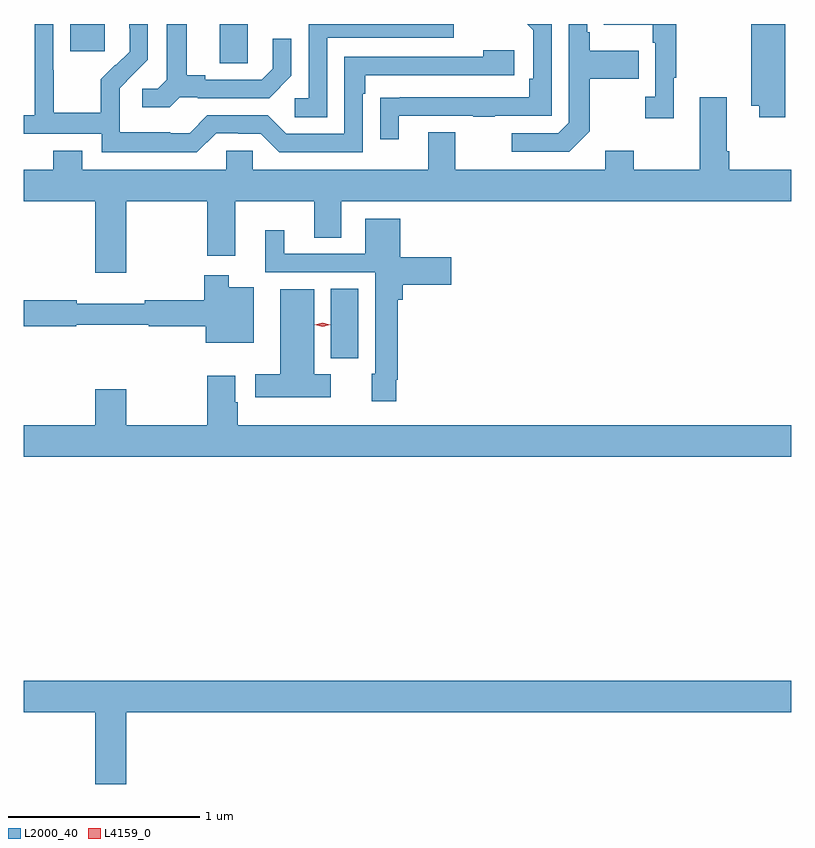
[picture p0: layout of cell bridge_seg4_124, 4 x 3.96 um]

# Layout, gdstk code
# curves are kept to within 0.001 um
import gdstk
lib = gdstk.Library(unit=1e-6, precision=1e-09)
def R(c, l, rs):  # rectangles x0, y0, x1, y1
    for r in rs: c.add(gdstk.rectangle(r[:2], r[2:], *l))
def P(c, l, *ps):  # polygons
    for p in ps: c.add(gdstk.Polygon(p, *l))
L2000_40 = (2000, 40)
L4159_0 = (4159, 0)

bridge_seg4_124 = lib.new_cell('bridge_seg4_124')
R(bridge_seg4_124, L2000_40, [(250.154,817.314,250.297,817.676), (249.575,818.851,249.72,819.056), (248.795,818.913,248.974,819.056)])
P(bridge_seg4_124, L2000_40, [(251.941,818.777),(251.953,818.777),(251.953,819.056),(251.575,819.056),(251.575,819.053),(251.832,819.053),(251.832,818.957),(251.844,818.957),(251.844,818.678),(251.793,818.678),(251.793,818.565),(251.941,818.565)],
  [(252.521,819.056),(252.346,819.056),(252.346,818.63),(252.386,818.63),(252.386,818.571),(252.521,818.571)],
  [(251.503,818.497),(251.503,818.77),(251.759,818.77),(251.759,818.917),(251.503,818.917),(251.503,819.013),(251.49,819.013),(251.49,819.056),(251.394,819.056),(251.394,818.541),(251.34,818.487),(251.097,818.487),(251.097,818.391),(251.397,818.391)],
  [(250.134,818.985),(250.793,818.985),(250.793,819.056),(250.038,819.056),(250.038,818.67),(249.966,818.67),(249.966,818.569),(250.134,818.569)],
  [(249.555,818.487),(249.671,818.487),(249.671,818.484),(249.789,818.484),(249.885,818.388),(250.32,818.388),(250.32,818.693),(250.333,818.693),(250.333,818.79),(251.11,818.79),(251.11,818.92),(250.949,818.92),(250.949,818.886),(250.224,818.886),(250.224,818.484),(249.921,818.484),(249.825,818.58),(249.51,818.58),(249.417,818.487),(249.317,818.487),(249.317,818.491),(249.054,818.491),(249.054,818.625),(249.052,818.625),(249.052,818.722),(249.198,818.87),(249.198,819.056),(249.102,819.056),(249.102,819.034),(249.104,819.034),(249.104,818.912),(249.033,818.841),(249.03,818.844),(248.953,818.767),(248.953,818.593),(248.709,818.593),(248.709,818.816),(248.706,818.816),(248.706,819.056),(248.61,819.056),(248.61,818.58),(248.553,818.58),(248.553,818.484),(248.958,818.484),(248.958,818.387),(249.455,818.387)],
  [(250.507,818.577),(250.897,818.577),(250.897,818.572),(251.009,818.572),(251.009,818.577),(251.304,818.577),(251.304,819.056),(251.176,819.056),(251.208,819.024),(251.208,818.77),(251.188,818.77),(251.188,818.673),(250.411,818.672),(250.411,818.454),(250.507,818.454)],
  [(249.366,818.673),(249.46,818.673),(249.46,818.67),(249.832,818.67),(249.948,818.786),(249.948,818.98),(249.851,818.98),(249.851,818.823),(249.794,818.766),(249.499,818.766),(249.499,818.789),(249.403,818.789),(249.403,819.056),(249.299,819.056),(249.299,818.765),(249.252,818.718),(249.171,818.718),(249.171,818.621),(249.314,818.621)],
  [(252.553,818.296),(252.23,818.296),(252.23,818.392),(252.217,818.392),(252.217,818.674),(252.077,818.674),(252.077,818.296),(251.733,818.296),(251.733,818.395),(251.585,818.395),(251.585,818.296),(250.801,818.296),(250.801,818.491),(250.661,818.491),(250.661,818.296),(249.747,818.296),(249.747,818.394),(249.609,818.394),(249.609,818.296),(248.857,818.296),(248.857,818.395),(248.705,818.395),(248.705,818.296),(248.553,818.296),(248.553,818.132),(248.924,818.132),(248.924,817.758),(249.088,817.758),(249.088,818.132),(249.508,818.132),(249.508,817.848),(249.655,817.848),(249.655,818.132),(250.067,818.132),(250.067,817.942),(250.207,817.942),(250.207,818.132),(252.553,818.132)],
  [(250.495,817.201),(250.502,817.201),(250.502,817.619),(250.529,817.619),(250.529,817.697),(250.78,817.697),(250.78,817.839),(250.516,817.839),(250.516,818.041),(250.334,818.041),(250.334,817.857),(249.91,817.857),(249.91,817.981),(249.812,817.981),(249.812,817.761),(250.386,817.761),(250.386,817.233),(250.367,817.233),(250.367,817.089),(250.495,817.089)],
  [(249.751,817.684),(249.622,817.684),(249.622,817.747),(249.493,817.747),(249.493,817.616),(249.184,817.616),(249.184,817.597),(248.828,817.597),(248.828,817.616),(248.553,817.616),(248.553,817.48),(248.826,817.48),(248.826,817.488),(249.204,817.488),(249.204,817.48),(249.5,817.48),(249.5,817.394),(249.751,817.394)],
  [(250.154,817.231),(250.066,817.231),(250.066,817.672),(249.89,817.672),(249.89,817.231),(249.759,817.231),(249.759,817.109),(250.154,817.109)],
  [(252.553,816.964),(249.668,816.964),(249.668,817.085),(249.655,817.085),(249.655,817.222),(249.508,817.222),(249.508,816.964),(249.088,816.964),(249.088,817.153),(248.924,817.153),(248.924,816.964),(248.553,816.964),(248.553,816.8),(252.553,816.8)],
  [(249.088,815.468),(252.553,815.468),(252.553,815.632),(248.553,815.632),(248.553,815.468),(248.924,815.468),(248.924,815.094),(249.088,815.094)])
P(bridge_seg4_124, L4159_0, [(250.111,817.478),(250.07,817.488),(250.07,817.488),(250.07,817.488),(250.111,817.498),(250.151,817.488),(250.151,817.488),(250.151,817.488)])

lib.write_gds('bridge_seg4_124.gds')
